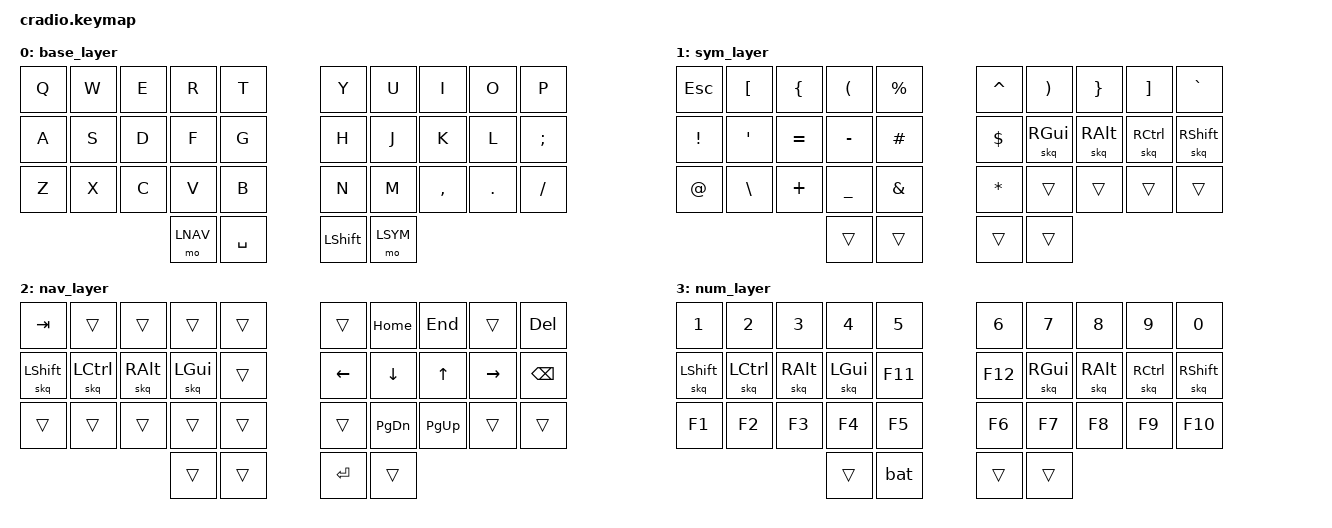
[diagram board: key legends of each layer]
// Copyright (c) 2022 The ZMK Contributors
// SPDX-License-Identifier: MIT

#include <behaviors.dtsi>
#include <dt-bindings/zmk/keys.h>

// Home row mods macro
#define HRML(k1,k2,k3,k4) &ht LSHFT k1  &ht LCTRL k2  &ht LALT k3  &ht LGUI k4
#define HRMR(k1,k2,k3,k4) &ht RGUI k1  &ht RALT k2  &ht RCTRL k3  &ht RSHFT k4


// Layers
#define LBASE 0
#define LSYM 1
#define LNAV 2
#define LNUM 3
/ {
    behaviors {
        ht: hold_tap {
            label = "hold_tap";
            compatible = "zmk,behavior-hold-tap";
            #binding-cells = <2>;
            flavor = "tap-preferred";
            tapping-term-ms = <210>;
            quick-tap-ms = <0>;
            global-quick-tap;
            bindings = <&kp>, <&kp>;
        };
        lm: layer_mods {
            compatible = "zmk,behavior-hold-tap";
            label = "LAYER_MODS";
            #binding-cells = <2>;
            tapping-term-ms = <200>;
            quick_tap_ms = <0>;
            flavor = "tap-preferred";
            bindings = <&mo>, <&kp>;
        };
        skq: sticky_key_quick_release {
            compatible = "zmk,behavior-sticky-key";
            #binding-cells = <1>;
            bindings = <&kp>;
            release-after-ms = <1000>;
            quick-release;
            ignore-modifiers;
        };
        // Types "0+ 85% 1 72%". 0 and 1 are pairing order. + means that half is plugged in.
        bat: bat {
            compatible = "zmk,behavior-battery-text";
            #binding-cells = <0>;
        };
    };

    conditional_layers {
        compatible = "zmk,conditional-layers";
        tri_layer {
            if-layers = <LNAV LSYM>;
            then-layer = <LNUM>;
        };
    };

    keymap {
        compatible = "zmk,keymap";
        base_layer {
            bindings = <
        //╭──────────┬──────────┬──────────┬──────────┬──────────╮   ╭──────────┬──────────┬──────────┬──────────┬──────────╮
        //│  Q       │  W       │  E       │  R       │  T       │   │  Y       │  U       │  I       │  O       │  P       │
            &kp Q      &kp W      &kp E      &kp R      &kp T          &kp Y      &kp U      &kp I      &kp O      &kp P
        //├──────────┼──────────┼──────────┼──────────┼──────────┤   ├──────────┼──────────┼──────────┼──────────┼──────────┤
        //│  A       │  S       │  D       │  F       │  G       │   │  H       │  J       │  K       │  L       │ ; :      │
            &kp A      &kp S       &kp D     &kp F      &kp G          &kp H      &kp J      &kp K      &kp L      &kp SEMICOLON
        //├──────────┼──────────┼──────────┼──────────┼──────────┤   ├──────────┼──────────┼──────────┼──────────┼──────────┤
        //│  Z       │  X       │  C       │  V       │  B       │   │  N       │  M       │ , <      │ . >      │ / ?      │
            &kp Z      &kp X      &kp C      &kp V      &kp B          &kp N      &kp M      &kp COMMA  &kp DOT    &kp FSLH
        //╰──────────┴──────────┴──────────┼──────────┼──────────┤   ├──────────┼──────────┼──────────┴──────────┴──────────╯
                                            &mo LNAV   &kp SPACE      &kp LSHIFT  &mo LSYM
        //                                 ╰──────────┴──────────╯   ╰──────────┴──────────╯
            >;
        };
        sym_layer {
            bindings = <
        //╭──────────┬──────────┬──────────┬──────────┬──────────╮   ╭──────────┬──────────┬──────────┬──────────┬──────────╮
        //│ ESC      │  [       │  {       │  (       │  %       │   │  ^       │  )       │  }       │  ]       │  `       │
           &kp ESC    &kp LBKT   &kp LBRC   &kp LPAR   &kp PRCNT      &kp CARET  &kp RPAR   &kp RBRC    &kp RBKT   &kp GRAVE
        //├──────────┼──────────┼──────────┼──────────┼──────────┤   ├──────────┼──────────┼──────────┼──────────┼──────────┤
        //│  !       │  ' "     │  =       │  -       │  #       │   │  $       │ RGUI     │ RALT     │ CTRL     │ RSHIFT   |
           &kp EXCL   &kp SQT    &kp EQUAL  &kp MINUS  &kp HASH       &kp DLLR   &skq RGUI  &skq RALT &skq RCTRL  &skq RSHIFT
        //├──────────┼──────────┼──────────┼──────────┼──────────┤   ├──────────┼──────────┼──────────┼──────────┼──────────┤
        //│  @       │  \ |     │  +       │  _       │  &       │   │  *       │          │          │          │          │
           &kp AT     &kp BSLH   &kp PLUS   &kp UNDER  &kp AMPS       &kp STAR   &trans     &trans     &trans     &trans
        //╰──────────┴──────────┴──────────┼──────────┼──────────┤   ├──────────┼──────────┼──────────┴──────────┴──────────╯
                                             &trans     &trans         &trans     &trans
        //                                 ╰──────────┴──────────╯   ╰──────────┴──────────╯
            >;
        };
        nav_layer {
            bindings = <
        //╭──────────┬──────────┬──────────┬──────────┬───────────╮   ╭──────────┬──────────┬──────────┬──────────┬──────────╮
        //│  TAB     │          │          │          │           │   │          │  HOME    │  END     │          │  DEL     │
           &kp TAB    &trans     &trans     &trans     &trans          &trans     &kp HOME   &kp END    &trans     &kp DEL
        //├──────────┼──────────┼──────────┼──────────┼───────────┤   ├──────────┼──────────┼──────────┼──────────┼──────────┤
        //│  LSHIFT  │  LCTRL   │ LALT     │  LGUI    │           │   │  LEFT    │  DOWN    │  UP      │  RIGHT   │  BSPC    │
          &skq LSHIFT &skq LCTRL &skq RALT  &skq LGUI  &trans          &kp LEFT   &kp DOWN   &kp UP     &kp RIGHT  &kp BSPC
        //├──────────┼──────────┼──────────┼──────────┼───────────┤   ├──────────┼──────────┼──────────┼──────────┼──────────┤
        //│          │          │          │          │           │   │          │  PGDW    │  PGUP    │          │          │
           &trans     &trans     &trans     &trans     &trans          &trans     &kp PG_DN  &kp PG_UP  &trans     &trans
        //╰──────────┴──────────┴──────────┼──────────┼───────────┤   ├──────────┼──────────┼──────────┴──────────┴──────────╯
                                            &trans     &trans          &kp RET     &trans
        //                                 ╰──────────┴───────────╯   ╰──────────┴──────────╯
            >;
        };
        num_layer {
            bindings = <
        //╭──────────┬──────────┬──────────┬──────────┬───────────╮   ╭──────────┬──────────┬──────────┬──────────┬──────────╮
        //│  1       │  2       │  3       │  4       │  5        │   │  6       │  7       │  8       │  9       │  0       │
           &kp N1     &kp N2     &kp N3     &kp N4     &kp N5          &kp N6     &kp N7     &kp N8     &kp N9     &kp N0
        //├──────────┼──────────┼──────────┼──────────┼───────────┤   ├──────────┼──────────┼──────────┼──────────┼──────────┤
        //│  LSHIFT  │  LCTRL   │ LALT     │  LGUI    │  F11      │   │  F12     │ RGUI     │ RALT     │ RCTRL    │ RSHIFT   |
          &skq LSHIFT &skq LCTRL &skq RALT  &skq LGUI  &kp F11         &kp F12    &skq RGUI  &skq RALT &skq RCTRL  &skq RSHIFT
        //├──────────┼──────────┼──────────┼──────────┼───────────┤   ├──────────┼──────────┼──────────┼──────────┼──────────┤
        //│  F1      │  F2      │  F3      │  F4      │  F5       │   │  F6      │  F7      │  F8      │  F9      │  F10     │
           &kp F1     &kp F2     &kp F3     &kp F4     &kp F5          &kp F6     &kp F7     &kp F8     &kp F9     &kp F10
        //╰──────────┴──────────┴──────────┼──────────┼───────────┤   ├──────────┼──────────┼──────────┴──────────┴──────────╯
        // Hold both layer thumbs, then tap the left space thumb.
                                            &trans     &bat            &trans     &trans
        //                                 ╰──────────┴───────────╯   ╰──────────┴──────────╯
            >;
        };
    };
};
